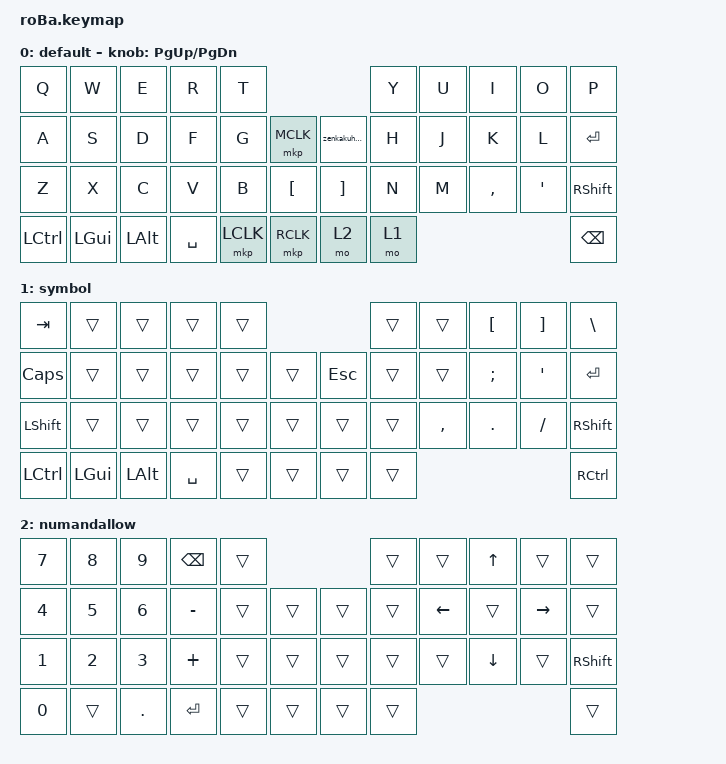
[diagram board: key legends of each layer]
#include <behaviors.dtsi>
#include <dt-bindings/zmk/keys.h>
#include <dt-bindings/zmk/pointing.h>

&mt {
    flavor = "balanced";
    quick-tap-ms = <0>;
};

/ {
    combos {
        compatible = "zmk,combos";

        tab {
            bindings = <&kp TAB>;
            key-positions = <11 12>;
        };

        shift_tab {
            bindings = <&kp LS(TAB)>;
            key-positions = <12 13>;
        };

        muhennkann {
            bindings = <&zenkakuhankaku INT_MUHENKAN>;
            key-positions = <11 10>;
        };

        double_quotation {
            bindings = <&kp DOUBLE_QUOTES>;
            key-positions = <20 21>;
        };

        eq {
            bindings = <&kp EQUAL>;
            key-positions = <24 25>;
        };
    };

    macros {
        zenkakuhankaku: to_layer_0 {
            compatible = "zmk,behavior-macro";
            #binding-cells = <0>;
            bindings =
                <&macro_press>,
                <&kp LEFT_ALT &kp GRAVE>,
                <&macro_release>,
                <&kp GRAVE &kp LEFT_ALT>;

            label = "TO_LAYER_0";
        };
    };

    behaviors {
        lt_to_layer_0: lt_to_layer_0 {
            compatible = "zmk,behavior-hold-tap";
            label = "LAYER_TAP_TO_0";
            bindings = <&mo>, <&zenkakuhankaku>;

            #binding-cells = <2>;
            tapping-term-ms = <200>;
        };
    };

    keymap {
        compatible = "zmk,keymap";

        default {
            bindings = <
&kp Q             &kp W         &kp E         &kp R      &kp T                                               &kp Y  &kp U  &kp I      &kp O    &kp P
&kp A             &kp S         &kp D         &kp F      &kp G      &mkp MCLK             &zenkakuhankaku    &kp H  &kp J  &kp K      &kp L    &kp ENTER
&kp Z             &kp X         &kp C         &kp V      &kp B      &kp LEFT_BRACKET      &kp RIGHT_BRACKET  &kp N  &kp M  &kp COMMA  &kp SQT  &kp RIGHT_SHIFT
&kp LEFT_CONTROL  &kp LEFT_GUI  &kp LEFT_ALT  &kp SPACE  &mkp LCLK  &mkp RCLK             &mo 2              &mo 1                             &kp BACKSPACE
            >;

            sensor-bindings = <&inc_dec_kp PG_UP PAGE_DOWN>;
        };

        symbol {
            bindings = <
&kp TAB           &trans        &trans        &trans     &trans                       &trans  &trans     &kp LEFT_BRACKET  &kp RIGHT_BRACKET  &kp BACKSLASH
&kp CAPSLOCK      &trans        &trans        &trans     &trans  &trans      &kp ESC  &trans  &trans     &kp SEMICOLON     &kp SQT            &kp ENTER
&kp LEFT_SHIFT    &trans        &trans        &trans     &trans  &trans      &trans   &trans  &kp COMMA  &kp PERIOD        &kp SLASH          &kp RIGHT_SHIFT
&kp LEFT_CONTROL  &kp LEFT_GUI  &kp LEFT_ALT  &kp SPACE  &trans  &trans      &trans   &trans                                                  &kp RIGHT_CONTROL
            >;
        };

        numandallow {
            bindings = <
&kp NUMBER_7  &kp NUMBER_8  &kp NUMBER_9  &kp BACKSPACE  &trans                      &trans  &trans          &kp UP_ARROW    &trans           &trans
&kp NUMBER_4  &kp NUMBER_5  &kp NUMBER_6  &kp MINUS      &trans  &trans      &trans  &trans  &kp LEFT_ARROW  &trans          &kp RIGHT_ARROW  &trans
&kp NUMBER_1  &kp NUMBER_2  &kp NUMBER_3  &kp PLUS       &trans  &trans      &trans  &trans  &trans          &kp DOWN_ARROW  &trans           &kp RIGHT_SHIFT
&kp NUMBER_0  &trans        &kp PERIOD    &kp ENTER      &trans  &trans      &trans  &trans                                                   &trans
            >;
        };
    };
};
